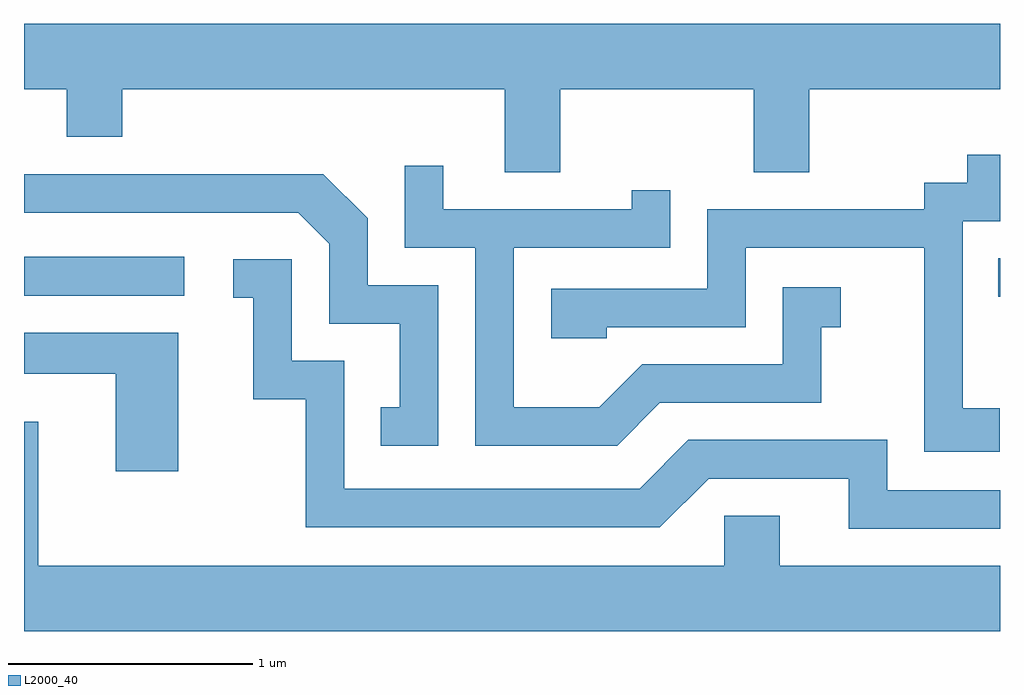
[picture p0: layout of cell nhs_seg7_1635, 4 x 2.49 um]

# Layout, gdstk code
import gdstk
lib = gdstk.Library(unit=1e-6, precision=1e-09)
def R(c, l, rs):  # rectangles x0, y0, x1, y1
    for r in rs: c.add(gdstk.rectangle(r[:2], r[2:], *l))
def P(c, l, *ps):  # polygons
    for p in ps: c.add(gdstk.Polygon(p, *l))
L2000_40 = (2000, 40)

nhs_seg7_1635 = lib.new_cell('nhs_seg7_1635')
R(nhs_seg7_1635, L2000_40, [(239.603,1677.946,239.611,1678.104), (235.611,1677.951,236.268,1678.109)])
P(nhs_seg7_1635, L2000_40, [(237.809,1678.796),(238.601,1678.796),(238.601,1678.456),(238.829,1678.456),(238.829,1678.796),(239.611,1678.796),(239.611,1679.064),(235.611,1679.064),(235.611,1678.796),(235.786,1678.796),(235.786,1678.601),(236.014,1678.601),(236.014,1678.796),(237.581,1678.796),(237.581,1678.456),(237.809,1678.456)],
  [(239.609,1677.489),(239.459,1677.489),(239.459,1678.256),(239.611,1678.256),(239.611,1678.528),(239.476,1678.528),(239.476,1678.414),(239.301,1678.414),(239.301,1678.304),(238.411,1678.304),(238.411,1677.979),(237.771,1677.979),(237.771,1677.776),(237.999,1677.776),(237.999,1677.821),(238.569,1677.821),(238.569,1678.146),(239.301,1678.146),(239.301,1677.311),(239.609,1677.311)],
  [(238.217,1677.511),(238.879,1677.511),(238.879,1677.821),(238.958,1677.821),(238.958,1677.984),(238.721,1677.984),(238.721,1677.669),(238.144,1677.669),(237.969,1677.494),(237.619,1677.494),(237.619,1678.146),(238.259,1678.146),(238.259,1678.383),(238.101,1678.383),(238.101,1678.304),(237.329,1678.304),(237.329,1678.483),(237.171,1678.483),(237.171,1678.146),(237.461,1678.146),(237.461,1677.336),(238.042,1677.336)],
  [(237.309,1677.994),(237.019,1677.994),(237.019,1678.267),(236.837,1678.449),(235.611,1678.449),(235.611,1678.291),(236.734,1678.291),(236.861,1678.164),(236.861,1677.836),(237.151,1677.836),(237.151,1677.494),(237.073,1677.494),(237.073,1677.336),(237.309,1677.336)],
  [(239.611,1677.154),(239.149,1677.154),(239.149,1677.359),(238.334,1677.359),(238.134,1677.159),(236.924,1677.159),(236.924,1677.684),(236.709,1677.684),(236.709,1678.099),(236.468,1678.099),(236.468,1677.941),(236.551,1677.941),(236.551,1677.526),(236.766,1677.526),(236.766,1677.001),(238.217,1677.001),(238.417,1677.201),(238.991,1677.201),(238.991,1676.996),(239.611,1676.996)],
  [(236.244,1677.799),(235.611,1677.799),(235.611,1677.631),(235.986,1677.631),(235.986,1677.231),(236.244,1677.231)],
  [(239.611,1676.844),(238.709,1676.844),(238.709,1677.049),(238.481,1677.049),(238.481,1676.844),(235.669,1676.844),(235.669,1677.434),(235.611,1677.434),(235.611,1676.576),(239.611,1676.576)])

lib.write_gds('nhs_seg7_1635.gds')
